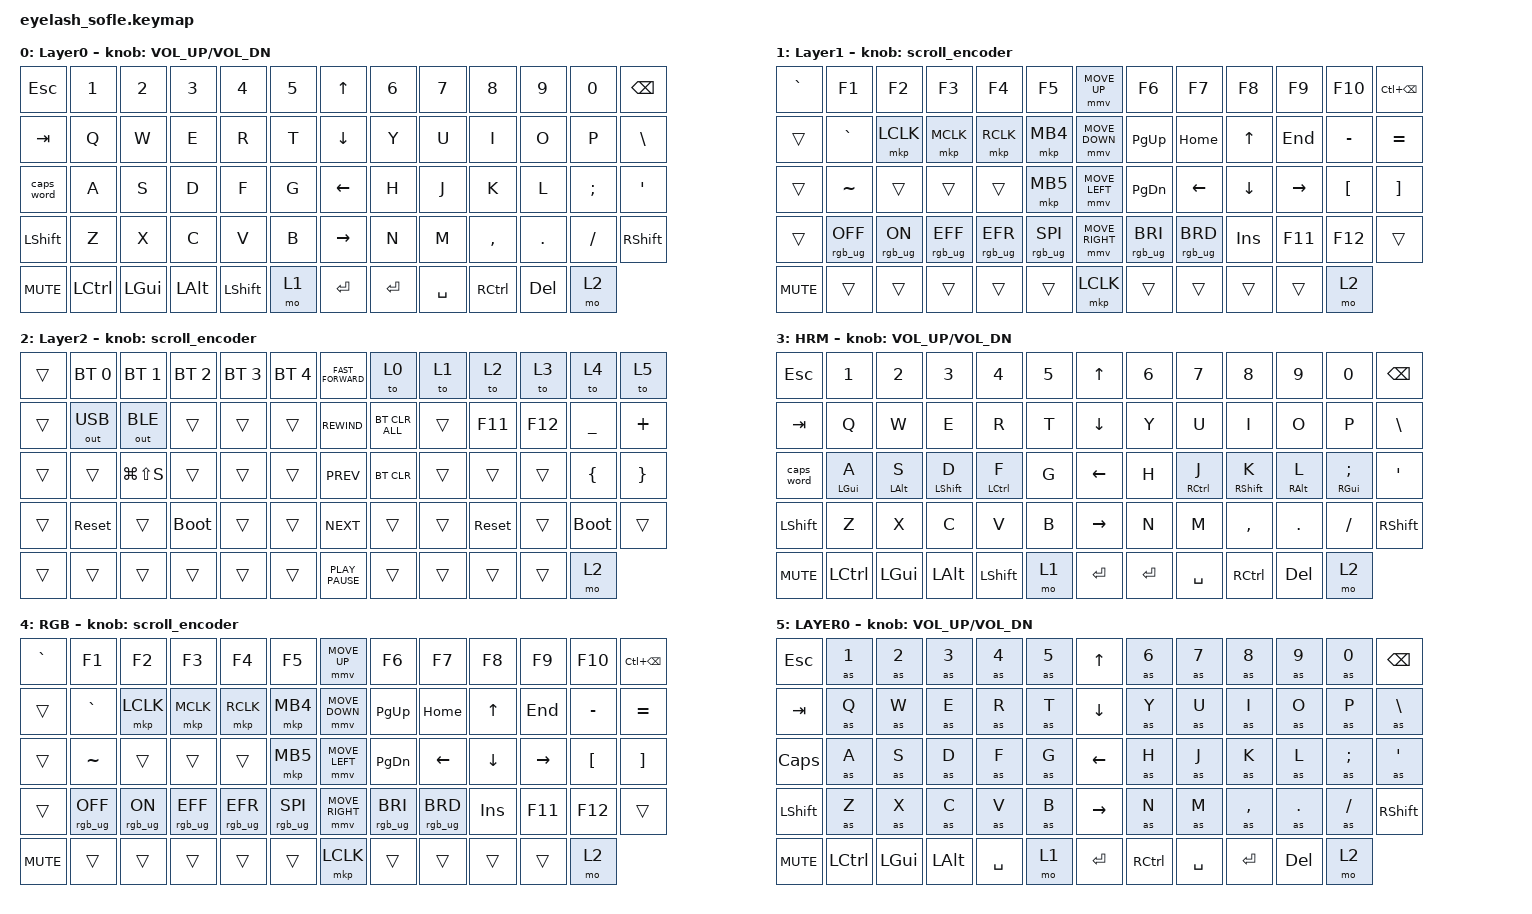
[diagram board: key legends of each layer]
#define ZMK_POINTING_DEFAULT_MOVE_VAL 1200  // 600
#define ZMK_POINTING_DEFAULT_SCRL_VAL 25   // 10

#include <input/processors.dtsi>
#include <zephyr/dt-bindings/input/input-event-codes.h>
#include <behaviors.dtsi>
#include <dt-bindings/zmk/bt.h>
#include <dt-bindings/zmk/keys.h>
#include <dt-bindings/zmk/outputs.h>
#include <dt-bindings/zmk/pointing.h>
#include <dt-bindings/zmk/rgb.h>

&mmv_input_listener { input-processors = <&zip_xy_scaler 2 1>; };

&msc_input_listener { input-processors = <&zip_scroll_scaler 2 1>; };

&msc {
    acceleration-exponent = <1>;      // 0
    time-to-max-speed-ms = <100>;       // 300
    delay-ms = <0>;                   // 0
};

&mmv {
    time-to-max-speed-ms = <500>;
    acceleration-exponent = <1>;
    trigger-period-ms = <16>;
};

&soft_off { hold-time-ms = <2000>; };

/ {
    scroll_encoder: scroll_encoder {
        compatible = "zmk,behavior-sensor-rotate";
        #sensor-binding-cells = <0>;
        bindings = <&msc SCRL_DOWN>, <&msc SCRL_UP>;

        tap-ms = <100>;
    };

    as_ht: autoshift_hold_tap {
        compatible = "zmk,behavior-hold-tap";
        label = "AUTOSHIFT_HOLD_TAP";
        #binding-cells = <2>;
        tapping-term-ms = <150>;
        flavor = "tap-preferred";
        bindings = <&shifted>, <&kp>;

        quick-tap-ms = <0>;
    };

    as_ht_long: autoshift_hold_tap_long {
        compatible = "zmk,behavior-hold-tap";
        label = "AUTOSHIFT_HOLD_TAP_LONG";
        #binding-cells = <2>;
        tapping-term-ms = <250>;
        flavor = "tap-preferred";
        bindings = <&shifted>, <&kp>;

        quick-tap-ms = <0>;
    };

    as: autoshift {
        compatible = "zmk,behavior-macro-one-param";
        #binding-cells = <1>;
        label = "AUTOSHIFT_KP";
        bindings =
            <&macro_press>,
            <&macro_param_1to1 &macro_param_1to2 &as_ht MACRO_PLACEHOLDER MACRO_PLACEHOLDER>,
            <&macro_pause_for_release>,
            <&macro_release>,
            <&macro_param_1to1 &macro_param_1to2 &as_ht MACRO_PLACEHOLDER MACRO_PLACEHOLDER>;
    };

    asl: autoshiftl {
        compatible = "zmk,behavior-macro-one-param";
        #binding-cells = <1>;
        label = "AUTOSHIFT_KP_L";
        bindings =
            <&macro_press>,
            <&macro_param_1to1 &macro_param_1to2 &as_ht_long MACRO_PLACEHOLDER MACRO_PLACEHOLDER>,
            <&macro_pause_for_release>,
            <&macro_release>,
            <&macro_param_1to1 &macro_param_1to2 &as_ht_long MACRO_PLACEHOLDER MACRO_PLACEHOLDER>;
    };

    hm_l: homerow_mods_left {
        compatible = "zmk,behavior-hold-tap";
        label = "homerow_mods_left";
        bindings = <&kp>, <&kp>;

        #binding-cells = <2>;
        flavor = "balanced";
        tapping-term-ms = <300>;
        quick-tap-ms = <175>;
        require-prior-idle-ms = <150>;
        hold-trigger-on-release;
        hold-trigger-key-positions = <59 60 61 62 63 57 56 55 54 53 7 8 9 10 11 20 21 22 23 24 33 34 35 36 37 46 47 48 49 50 25 38>;
    };

    hm_shift_l: hm_shift_l {
        compatible = "zmk,behavior-hold-tap";
        label = "hm_shift_l";
        bindings = <&kp>, <&kp>;

        #binding-cells = <2>;
        flavor = "balanced";
        tapping-term-ms = <200>;
        quick-tap-ms = <175>;
        require-prior-idle-ms = <150>;
        hold-trigger-on-release;
        hold-trigger-key-positions = <59 60 61 62 63 57 56 55 54 53 7 8 9 10 11 20 21 22 23 24 33 34 35 36 37 46 47 48 49 50 25 38>;
    };

    hm_r: homerow_mods_right {
        compatible = "zmk,behavior-hold-tap";
        label = "homerow_mods_right";
        bindings = <&kp>, <&kp>;

        #binding-cells = <2>;
        flavor = "balanced";
        tapping-term-ms = <300>;
        quick-tap-ms = <175>;
        require-prior-idle-ms = <150>;
        hold-trigger-on-release;
        hold-trigger-key-positions = <59 60 61 62 63 57 56 55 54 53 1 14 15 16 17 18 27 28 29 30 31 2 3 4 5 27 28 29 30 31 40 41 42 43 44 54>;
    };

    hm_shift_r: hm_shift_r {
        compatible = "zmk,behavior-hold-tap";
        label = "HM_SHIFT_R";
        bindings = <&kp>, <&kp>;

        #binding-cells = <2>;
        flavor = "balanced";
        tapping-term-ms = <200>;
        quick-tap-ms = <175>;
        require-prior-idle-ms = <150>;
        hold-trigger-on-release;
        hold-trigger-key-positions = <59 60 61 62 63 57 56 55 54 53 1 14 15 16 17 18 27 28 29 30 31 2 3 4 5 27 28 29 30 31 40 41 42 43 44 54>;
    };

    behaviors {
    };

    combos {
        compatible = "zmk,combos";

        rightbrace {
            bindings = <&asl RIGHT_BRACKET>;
            key-positions = <24 37>;
        };

        leftbrace {
            bindings = <&asl LEFT_BRACKET>;
            key-positions = <23 36>;
        };

        equal {
            bindings = <&asl EQUAL>;
            key-positions = <22 35>;
        };

        minus {
            bindings = <&asl MINUS>;
            key-positions = <21 34>;
        };

        tilde {
            bindings = <&asl GRAVE>;
            key-positions = <0 13>;
        };

        Layer3 {
            bindings = <&mo 4>;
            key-positions = <57 63>;
        };

        Layer4 {
            bindings = <&mo 5>;
            key-positions = <57 63 39>;
        };
    };

    macros {
        shifted: macro_shifted_kp {
            #binding-cells = <1>;
            label = "MACRO_SHIFTED_KP";
            compatible = "zmk,behavior-macro-one-param";
            bindings =
                <&macro_press>,
                <&kp LSHFT &macro_param_1to1>,
                <&macro_tap>,
                <&kp MACRO_PLACEHOLDER>,
                <&macro_release>,
                <&kp LSHFT>;
        };
    };

    keymap {
        compatible = "zmk,keymap";

        Layer0 {
            display-name = "Layer0";
            bindings = <
&kp ESC     &kp N1     &kp N2        &kp N3        &kp N4          &kp N5    &kp UP_ARROW     &kp N6     &kp N7     &kp N8     &kp N9      &kp N0    &kp BACKSPACE
&kp TAB     &kp Q      &kp W         &kp E         &kp R           &kp T     &kp DOWN_ARROW   &kp Y      &kp U      &kp I      &kp O       &kp P     &kp BSLH
&caps_word  &kp A      &kp S         &kp D         &kp F           &kp G     &kp LEFT_ARROW   &kp H      &kp J      &kp K      &kp L       &kp SEMI  &kp APOS
&kp LSHFT   &kp Z      &kp X         &kp C         &kp V           &kp B     &kp RIGHT_ARROW  &kp N      &kp M      &kp COMMA  &kp DOT     &kp FSLH  &kp RSHIFT
&kp C_MUTE  &kp LCTRL  &kp LEFT_GUI  &kp LEFT_ALT  &kp LEFT_SHIFT  &mo 1     &kp ENTER        &kp ENTER  &kp SPACE  &kp RCTRL  &kp DELETE  &mo 2
            >;

            sensor-bindings = <&inc_dec_kp C_VOLUME_UP C_VOL_DN>;
        };

        Layer1 {
            bindings = <
&kp GRAVE   &kp F1           &kp F2          &kp F3           &kp F4           &kp F5             &mmv MOVE_UP     &kp F6           &kp F7           &kp F8      &kp F9     &kp F10           &kp LC(BACKSPACE)
&trans      &kp GRAVE        &mkp LCLK       &mkp MCLK        &mkp RCLK        &mkp MB4           &mmv MOVE_DOWN   &kp PG_UP        &kp HOME         &kp UP      &kp END    &kp MINUS         &kp EQUAL
&trans      &kp TILDE        &trans          &trans           &trans           &mkp MB5           &mmv MOVE_LEFT   &kp PG_DN        &kp LEFT         &kp DOWN    &kp RIGHT  &kp LEFT_BRACKET  &kp RIGHT_BRACKET
&trans      &rgb_ug RGB_OFF  &rgb_ug RGB_ON  &rgb_ug RGB_EFF  &rgb_ug RGB_EFR  &rgb_ug RGB_SPI    &mmv MOVE_RIGHT  &rgb_ug RGB_BRI  &rgb_ug RGB_BRD  &kp INSERT  &kp F11    &kp F12           &trans
&kp C_MUTE  &trans           &trans          &trans           &trans           &trans             &mkp LCLK        &trans           &trans           &trans      &trans     &mo 2
            >;

            display-name = "Layer1";
            sensor-bindings = <&scroll_encoder>;
        };

        Layer2 {
            bindings = <
&trans  &bt BT_SEL 0  &bt BT_SEL 1   &bt BT_SEL 2  &bt BT_SEL 3  &bt BT_SEL 4    &kp C_FAST_FORWARD  &to 0           &to 1   &to 2       &to 3    &to 4        &to 5
&trans  &out OUT_USB  &out OUT_BLE   &trans        &trans        &trans          &kp C_REWIND        &bt BT_CLR_ALL  &trans  &kp F11     &kp F12  &kp UNDER    &kp PLUS
&trans  &trans        &kp LG(LS(S))  &trans        &trans        &trans          &kp C_PREV          &bt BT_CLR      &trans  &trans      &trans   &kp LBRC     &kp RBRC
&trans  &sys_reset    &trans         &bootloader   &trans        &trans          &kp C_NEXT          &trans          &trans  &sys_reset  &trans   &bootloader  &trans
&trans  &trans        &trans         &trans        &trans        &trans          &kp K_PLAY_PAUSE    &trans          &trans  &trans      &trans   &mo 2
            >;

            sensor-bindings = <&scroll_encoder>;
            label = "Layer2";
        };

        HRM {
            display-name = "HRM";
            bindings = <
&kp ESC     &kp N1        &kp N2        &kp N3                &kp N4          &kp N5    &kp UP_ARROW     &kp N6     &kp N7         &kp N8                &kp N9             &kp N0           &kp BACKSPACE
&kp TAB     &kp Q         &kp W         &kp E                 &kp R           &kp T     &kp DOWN_ARROW   &kp Y      &kp U          &kp I                 &kp O              &kp P            &kp BSLH
&caps_word  &hm_l LGUI A  &hm_l LALT S  &hm_shift_l LSHIFT D  &hm_l LCTRL F   &kp G     &kp LEFT_ARROW   &kp H      &hm_r RCTRL J  &hm_shift_r RSHIFT K  &hm_r RIGHT_ALT L  &hm_r RGUI SEMI  &kp APOS
&kp LSHFT   &kp Z         &kp X         &kp C                 &kp V           &kp B     &kp RIGHT_ARROW  &kp N      &kp M          &kp COMMA             &kp DOT            &kp FSLH         &kp RSHIFT
&kp C_MUTE  &kp LCTRL     &kp LEFT_GUI  &kp LEFT_ALT          &kp LEFT_SHIFT  &mo 1     &kp ENTER        &kp ENTER  &kp SPACE      &kp RCTRL             &kp DELETE         &mo 2
            >;

            sensor-bindings = <&inc_dec_kp C_VOLUME_UP C_VOL_DN>;
        };

        RGB {
            display-name = "RGB";
            bindings = <
&kp GRAVE   &kp F1           &kp F2          &kp F3           &kp F4           &kp F5             &mmv MOVE_UP     &kp F6           &kp F7           &kp F8      &kp F9     &kp F10           &kp LC(BACKSPACE)
&trans      &kp GRAVE        &mkp LCLK       &mkp MCLK        &mkp RCLK        &mkp MB4           &mmv MOVE_DOWN   &kp PG_UP        &kp HOME         &kp UP      &kp END    &kp MINUS         &kp EQUAL
&trans      &kp TILDE        &trans          &trans           &trans           &mkp MB5           &mmv MOVE_LEFT   &kp PG_DN        &kp LEFT         &kp DOWN    &kp RIGHT  &kp LEFT_BRACKET  &kp RIGHT_BRACKET
&trans      &rgb_ug RGB_OFF  &rgb_ug RGB_ON  &rgb_ug RGB_EFF  &rgb_ug RGB_EFR  &rgb_ug RGB_SPI    &mmv MOVE_RIGHT  &rgb_ug RGB_BRI  &rgb_ug RGB_BRD  &kp INSERT  &kp F11    &kp F12           &trans
&kp C_MUTE  &trans           &trans          &trans           &trans           &trans             &mkp LCLK        &trans           &trans           &trans      &trans     &mo 2
            >;

            sensor-bindings = <&scroll_encoder>;
        };

        Layer5-AutoShift {
            bindings = <
&kp ESC     &as N1     &as N2        &as N3        &as N4     &as N5    &kp UP_ARROW     &as N6     &as N7     &as N8     &as N9      &as N0    &kp BACKSPACE
&kp TAB     &as Q      &as W         &as E         &as R      &as T     &kp DOWN_ARROW   &as Y      &as U      &as I      &as O       &as P     &as BSLH
&kp CAPS    &as A      &as S         &as D         &as F      &as G     &kp LEFT_ARROW   &as H      &as J      &as K      &as L       &as SEMI  &as APOS
&kp LSHFT   &as Z      &as X         &as C         &as V      &as B     &kp RIGHT_ARROW  &as N      &as M      &as COMMA  &as DOT     &as FSLH  &kp RSHIFT
&kp C_MUTE  &kp LCTRL  &kp LEFT_GUI  &kp LEFT_ALT  &kp SPACE  &mo 1     &kp ENTER        &kp RCTRL  &kp SPACE  &kp ENTER  &kp DELETE  &mo 2
            >;

            sensor-bindings = <&inc_dec_kp C_VOLUME_UP C_VOL_DN>;
            display-name = "LAYER0";
            label = "autoshift";
        };
    };
};
